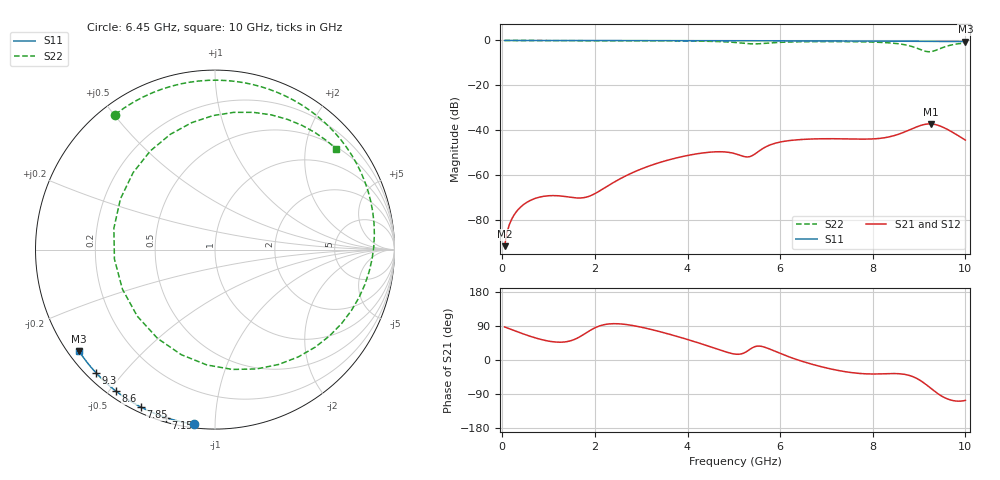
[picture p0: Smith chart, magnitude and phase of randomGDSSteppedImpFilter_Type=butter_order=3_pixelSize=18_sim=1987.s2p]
! freq	dB(S11)	phase(S11)	dB(S12)	phase(S12)
!  dB(S21)	phase(S21)	dB(S22)	phase(S22)
!S-par simulation data
#  GHz  S  DB  R 50
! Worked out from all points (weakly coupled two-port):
!   200 points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, 50 MHz to 10 GHz, reference 50 ohm
!   highest |S21| = -37.16 dB at 9.25 GHz (marker M1); lowest = -91.6 dB at 50 MHz (marker M2)
!   lowest |S11| = -0.5 dB at 10 GHz (marker M3), VSWR 35.55, Z = 1.56 - j16.7 ohm
!   |S11| at or under -10 dB: nowhere
!   |S22| runs from -5.0 to 0.0 dB; largest |S21 - S12| = 0
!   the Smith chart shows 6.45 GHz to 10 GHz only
!   S11 on the Smith chart (normalised r, x): 6.45 GHz: 0.02, -0.88; 7.15 GHz: 0.02, -0.75; 7.85 GHz: 0.02, -0.63; 8.6 GHz: 0.02, -0.52; 9.3 GHz: 0.03, -0.43; 10 GHz: 0.03, -0.33
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0.05  -0.00 -0.8  -91.61 87.2  -91.61 87.2  -0.00 -4.1
0.9  -0.02 -14.7  -69.37 52.3  -69.37 52.3  -0.08 -69.1
1.75  -0.04 -28.3  -70.04 66.8  -70.04 66.8  -0.12 -121.6
2.55  -0.05 -40.9  -61.54 95.2  -61.54 95.2  -0.15 -161.7
3.4  -0.07 -53.9  -54.34 74.9  -54.34 74.9  -0.19 158.9
4.5  -0.10 -70.1  -49.72 34.7  -49.72 34.7  -0.39 93.7
4.8  -0.11 -74.3  -49.63 22.5  -49.63 22.5  -0.59 63.2
5.05  -0.12 -77.9  -50.56 15.3  -50.56 15.3  -0.94 24.7
5.25  -0.13 -80.7  -51.82 20.4  -51.82 20.4  -1.33 -20.1
5.5  -0.14 -84.1  -49.90 36.5  -49.90 36.5  -1.51 -89.8
5.85  -0.15 -88.9  -46.03 25.0  -46.03 25.0  -1.02 -167.1
6.45  -0.18 -97.0  -44.11 -2.5  -44.11 -2.5  -0.58 126.5
6.7  -0.19 -100.3  -43.86 -11.6  -43.86 -11.6  -0.52 108.3
7.15  -0.22 -106.2  -43.76 -25.1  -43.76 -25.1  -0.50 80.0
7.85  -0.27 -115.3  -43.93 -36.5  -43.93 -36.5  -0.65 37.8
8.35  -0.31 -121.7  -42.95 -35.9  -42.95 -35.9  -1.06 1.1
8.6  -0.33 -124.9  -41.44 -36.6  -41.44 -36.6  -1.60 -24.1
8.95  -0.37 -129.4  -38.47 -48.7  -38.47 -48.7  -3.42 -81.8
9.25  -0.40 -133.2  -37.16 -74.4  -37.16 -74.4  -4.99 -174.6
9.3  -0.40 -133.9  -37.25 -79.2  -37.25 -79.2  -4.79 168.0
9.6  -0.44 -137.8  -39.48 -102.1  -39.48 -102.1  -2.54 90.8
10  -0.49 -143.1  -44.37 -106.6  -44.37 -106.6  -1.13 39.6
